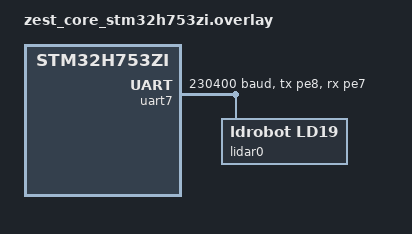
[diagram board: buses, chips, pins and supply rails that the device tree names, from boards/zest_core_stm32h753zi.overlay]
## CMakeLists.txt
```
# SPDX-License-Identifier: Apache-2.0

cmake_minimum_required(VERSION 3.13.1)

list(APPEND ZEPHYR_EXTRA_MODULES ${CMAKE_CURRENT_SOURCE_DIR}/../../../modules/micro_ros_zephyr_module/modules/libmicroros/)

find_package(Zephyr REQUIRED HINTS $ENV{ZEPHYR_BASE})
project(lidar_example)

# Apply Git patch before build
execute_process(
    COMMAND git apply ${CMAKE_CURRENT_SOURCE_DIR}/../fix_static_init_gnu.patch
    WORKING_DIRECTORY ${ZEPHYR_BASE}
    RESULT_VARIABLE result
)

execute_process(
    COMMAND git apply ${CMAKE_CURRENT_SOURCE_DIR}/../fix_zest_core_stm32h753zi_ethernet.patch
    WORKING_DIRECTORY ${ZEPHYR_BASE}/../6tron/boards/zest_core_stm32h753zi
    RESULT_VARIABLE result
)

target_sources(app PRIVATE ${proto_sources} src/main.c)
```

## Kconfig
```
# SPDX-License-Identifier: Apache-2.0

mainmenu "MiniPock configuration"

menu "Zephyr"
source "Kconfig.zephyr"
endmenu

config ROS_ROS_DOMAIN_ID
    int "ROS Domain ID"
    default 10
```

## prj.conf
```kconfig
CONFIG_GPIO=y

CONFIG_SERIAL=y
CONFIG_UART_INTERRUPT_DRIVEN=y

CONFIG_SENSOR=y

CONFIG_LOG=y
CONFIG_NET_LOG=y

CONFIG_MICROROS=y

CONFIG_MAIN_STACK_SIZE=25000
CONFIG_MAIN_THREAD_PRIORITY=3

CONFIG_PTHREAD_IPC=n

CONFIG_POSIX_API=y
CONFIG_POSIX_CLOCK=y

CONFIG_STDOUT_CONSOLE=y
CONFIG_UART_INTERRUPT_DRIVEN=y
CONFIG_UART_LINE_CTRL=y
CONFIG_RING_BUFFER=y

CONFIG_NANOPB=y

CONFIG_MICROROS_XRCE_DDS_MTU="4096"

CONFIG_NATIVE_POSIX_TIMER=y

CONFIG_HEAP_MEM_POOL_SIZE=8192
CONFIG_SYSTEM_WORKQUEUE_STACK_SIZE=2048
CONFIG_NET_IPV4=y
CONFIG_NET_CONFIG_NEED_IPV4=y
CONFIG_NET_IPV6=n
CONFIG_NET_DHCPV4=y
CONFIG_NETWORKING=y
CONFIG_NET_SOCKETS=y
CONFIG_NET_SOCKETS_POSIX_NAMES=y
CONFIG_POSIX_MAX_FDS=6
CONFIG_DNS_RESOLVER=y

CONFIG_NET_UDP=y

CONFIG_MICROROS_TRANSPORT_UDP=y

CONFIG_ENTROPY_GENERATOR=y
CONFIG_TEST_RANDOM_GENERATOR=y

CONFIG_NET_MGMT=y
CONFIG_NET_MGMT_EVENT=y
CONFIG_NET_DHCPV4=y
CONFIG_NET_DHCPV4_OPTION_CALLBACKS=y

CONFIG_INIT_STACKS=y

CONFIG_SHELL=y
CONFIG_NET_SHELL=y

CONFIG_LD19_TRIGGER_GLOBAL_THREAD=y
```

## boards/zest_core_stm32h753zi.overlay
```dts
&uart7 {
	pinctrl-0 = <&uart7_tx_pe8 &uart7_rx_pe7>;
	pinctrl-names = "default";

	current-speed = <230400>;
	status = "okay";

  	lidar0: lidar_0 {
		compatible = "ldrobot,ld19";
	};
};
```

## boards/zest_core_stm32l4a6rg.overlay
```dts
&sixtron_uart {
	current-speed = <230400>;
	status = "okay";

	lidar0: lidar_0 {
		compatible = "ldrobot,ld19";
	};
};

&timers1 {
	st,prescaler = <10000>;
};
```

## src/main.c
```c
/*
 * Copyright (c) 2023 CATIE
 * SPDX-License-Identifier: Apache-2.0
 */

#include <zephyr/kernel.h>

#include <zephyr/drivers/gpio.h>
#include <zephyr/drivers/sensor.h>

#include <rcl/error_handling.h>
#include <rcl/rcl.h>
#include <rclc/executor.h>
#include <rclc/rclc.h>
#include <rclc/timer.h>
#include <rmw_microros/rmw_microros.h>

#include <microros_transports.h>

#include <sensor_msgs/msg/laser_scan.h>

#include <zephyr/net/net_event.h>
#include <zephyr/net/net_if.h>

#include <zephyr/net/net_context.h>
#include <zephyr/net/net_core.h>
#include <zephyr/net/net_if.h>
#include <zephyr/net/net_mgmt.h>

#include <zephyr/logging/log.h>
LOG_MODULE_REGISTER(main, CONFIG_SENSOR_LOG_LEVEL);

#define DHCP_OPTION_NTP (42)

static uint8_t ntp_server[4];

static struct net_mgmt_event_callback mgmt_cb;

static struct net_dhcpv4_option_callback dhcp_cb;

static const struct device *sensor;

static rclc_executor_t executor;

#define STACKSIZE 8162
K_THREAD_STACK_DEFINE(thread_stack, STACKSIZE);
struct k_thread thread_data;

void uros_transport_task();

K_THREAD_DEFINE(uros_transport, 2048, uros_transport_task, NULL, NULL, NULL, 7, 0, 0);

#define RCCHECK(fn)                                                                                \
    {                                                                                              \
        rcl_ret_t temp_rc = fn;                                                                    \
        if ((temp_rc != RCL_RET_OK)) {                                                             \
            printf("Failed status on line %d: %d. Aborting.\n", __LINE__, (int)temp_rc);           \
            return 1;                                                                              \
        }                                                                                          \
    }
#define RCSOFTCHECK(fn)                                                                            \
    {                                                                                              \
        rcl_ret_t temp_rc = fn;                                                                    \
        if ((temp_rc != RCL_RET_OK)) {                                                             \
            printf("Failed status on line %d: %d. Continuing.\n", __LINE__, (int)temp_rc);         \
        }                                                                                          \
    }

rcl_publisher_t scan_publisher;

// LED0
#define LED0_NODE DT_ALIAS(led0)
static const struct gpio_dt_spec led = GPIO_DT_SPEC_GET(LED0_NODE, gpios);

// Save ROS timestamp
static uint64_t ros_timestamp;

// Network management
static bool connected = 0;
static volatile bool agent_connected = false;

// Struct contain ranges, intensities, start_angle, end_angle
struct lidar_data {
    float ranges[12];
    float intensities[12];
    float start_angle;
    float end_angle;
};

#define NB_MSG 11
#define NB_POINTS_PER_MSG 12
#define NB_POINTS (NB_MSG * NB_POINTS_PER_MSG)

static struct lidar_data lidar_msg[NB_MSG];
int lidar_msg_index = 0;

K_MSGQ_DEFINE(lidar_msgq, sizeof(struct lidar_data), 20, 4);

static void start_dhcpv4_client(struct net_if *iface, void *user_data)
{
    ARG_UNUSED(user_data);

    printk("Start on %s: index=%d", net_if_get_device(iface)->name, net_if_get_by_iface(iface));
    net_dhcpv4_start(iface);
}

static void handler(struct net_mgmt_event_callback *cb, uint32_t mgmt_event, struct net_if *iface)
{
    int i = 0;

    if (mgmt_event != NET_EVENT_IPV4_ADDR_ADD) {
        return;
    }

    for (i = 0; i < NET_IF_MAX_IPV4_ADDR; i++) {
        char buf[NET_IPV4_ADDR_LEN];

        if (iface->config.ip.ipv4->unicast[i].ipv4.addr_type != NET_ADDR_DHCP) {
            continue;
        }

        printk("   Address[%d]: %s",
                net_if_get_by_iface(iface),
                net_addr_ntop(AF_INET,
                        &iface->config.ip.ipv4->unicast[i].ipv4.address.in_addr,
                        buf,
                        sizeof(buf)));
        printk("    Subnet[%d]: %s",
                net_if_get_by_iface(iface),
                net_addr_ntop(
                        AF_INET, &iface->config.ip.ipv4->unicast[i].netmask, buf, sizeof(buf)));
        printk("    Router[%d]: %s",
                net_if_get_by_iface(iface),
                net_addr_ntop(AF_INET, &iface->config.ip.ipv4->gw, buf, sizeof(buf)));
        printk("Lease time[%d]: %u seconds",
                net_if_get_by_iface(iface),
                iface->config.dhcpv4.lease_time);
    }

    connected = 1;
}

static void option_handler(struct net_dhcpv4_option_callback *cb,
        size_t length,
        enum net_dhcpv4_msg_type msg_type,
        struct net_if *iface)
{
    char buf[NET_IPV4_ADDR_LEN];

    printk("DHCP Option %d: %s", cb->option, net_addr_ntop(AF_INET, cb->data, buf, sizeof(buf)));
}

void send_lidar_data(void *, void *, void *)
{
    static float range_to_send[NB_POINTS];
    static float intensity_to_send[NB_POINTS];

    struct lidar_data lidar_data;

    static sensor_msgs__msg__LaserScan scan;

    while (true) {
        k_msgq_get(&lidar_msgq, &lidar_data, K_FOREVER);

        lidar_msg[lidar_msg_index] = lidar_data;
        lidar_msg_index++;

        if (lidar_msg_index >= NB_MSG) {
            lidar_msg_index = 0;

            for (int i = 0; i < NB_MSG; i++) {
                for (int j = 0; j < NB_POINTS_PER_MSG; j++) {
                    range_to_send[i * NB_POINTS_PER_MSG + j] = lidar_msg[i].ranges[j];
                    intensity_to_send[i * NB_POINTS_PER_MSG + j] = lidar_msg[i].intensities[j];
                }
            }

            scan.header.frame_id.data = "lds_01_link";
            scan.header.stamp.sec = (int32_t)((ros_timestamp + k_uptime_get()) / 1000);
            scan.header.stamp.nanosec
                    = (uint32_t)((ros_timestamp + k_uptime_get()) % 1000) * 1000000;

            float angle_increment = 0;
            if (lidar_msg[0].start_angle > lidar_msg[NB_MSG - 1].end_angle) {
                angle_increment
                        = (6.28 - lidar_msg[0].start_angle + lidar_msg[NB_MSG - 1].end_angle)
                        / (float)NB_POINTS;
            } else {
                angle_increment = (lidar_msg[NB_MSG - 1].end_angle - lidar_msg[0].start_angle)
                        / (float)NB_POINTS;
            }

            scan.angle_increment = angle_increment;
            scan.time_increment = 0;
            scan.scan_time = 0.1;
            scan.range_min = 0.02;
            scan.range_max = 12;

            scan.ranges.data = range_to_send;
            scan.intensities.data = intensity_to_send;
            scan.ranges.size = NB_POINTS;
            scan.intensities.size = NB_POINTS;

            scan.angle_min = lidar_msg[0].start_angle;
            scan.angle_max = lidar_msg[NB_MSG - 1].end_angle;

            if (agent_connected) {
                // blink LED
                gpio_pin_toggle_dt(&led);
                int ret = rcl_publish(&scan_publisher, &scan, NULL);
                if (ret != RCL_RET_OK) {
                    printk("Failed to publish message\n");
                }
            }
        }
    }
}

void uros_transport_task()
{
    while (1) {
        if (agent_connected) {
            rclc_executor_spin_some(&executor, RCL_MS_TO_NS(100));
            k_msleep(1000);
        } else {
            k_msleep(1000);
        }
    }
}

static void trigger_handler(const struct device *dev, const struct sensor_trigger *trigger)
{
    struct sensor_value val[15];

    struct lidar_data lidar_data;

    sensor_channel_get(sensor, SENSOR_CHAN_DISTANCE, val);

    lidar_data.start_angle = val[1].val1 / 100 * 3.14 / 180;
    lidar_data.end_angle = val[1].val2 / 100 * 3.14 / 180;

    for (int i = 0; i < NB_POINTS_PER_MSG; i++) {
        lidar_data.ranges[i] = (float)val[i + 2].val1 / 100.;
        lidar_data.intensities[i] = (float)val[i + 2].val2 / 100.;
    }

    while (k_msgq_put(&lidar_msgq, &lidar_data, K_NO_WAIT) != 0) {
        printk("Failed to put data in queue\n");
        k_msgq_purge(&lidar_msgq);
    }
}

int main()
{
    int ret;

    printk("Starting micro-ROS Zephyr app\n");

    int priority = 5;
    k_thread_create(&thread_data,
            thread_stack,
            K_THREAD_STACK_SIZEOF(thread_stack),
            send_lidar_data,
            NULL,
            NULL,
            NULL,
            priority,
            0,
            K_NO_WAIT);

    // Init LED0
    if (!gpio_is_ready_dt(&led)) {
        return 0;
    }

    ret = gpio_pin_configure_dt(&led, GPIO_OUTPUT_ACTIVE);
    if (ret < 0) {
        return 0;
    }

    // Initialize LiDAR
    sensor = DEVICE_DT_GET(DT_NODELABEL(lidar0));
    if (!device_is_ready(sensor)) {
        LOG_ERR("Sensor not ready");
        return 0;
    }

    static struct sensor_trigger trig = {
        .type = SENSOR_TRIG_DATA_READY,
        .chan = SENSOR_CHAN_DISTANCE,
    };

    sensor_trigger_set(sensor, &trig, trigger_handler);

    // Init micro-ROS
    static zephyr_transport_params_t agent_param = { { 0, 0, 0 }, "192.168.1.4", "8888" };

    // Init micro-ROS
    rmw_uros_set_custom_transport(MICRO_ROS_FRAMING_REQUIRED,
            (void *)&agent_param,
            zephyr_transport_open,
            zephyr_transport_close,
            zephyr_transport_write,
            zephyr_transport_read);

    net_mgmt_init_event_callback(&mgmt_cb, handler, NET_EVENT_IPV4_ADDR_ADD);
    net_mgmt_add_event_callback(&mgmt_cb);

    net_dhcpv4_init_option_callback(
            &dhcp_cb, option_handler, DHCP_OPTION_NTP, ntp_server, sizeof(ntp_server));

    net_dhcpv4_add_option_callback(&dhcp_cb);

    net_if_foreach(start_dhcpv4_client, NULL);

    while (!connected) {
        printf("Waiting for connection\n");
        k_sleep(K_SECONDS(1));
    }

    printf("Connection OK\n");

    while (rmw_uros_ping_agent(100, 1) != RMW_RET_OK) {
        printk("Waiting for agent...\n");
        k_sleep(K_SECONDS(1));
    }

    agent_connected = true;

    printk("Agent found!\n");

    rcl_allocator_t allocator = rcl_get_default_allocator();
    rclc_support_t support;

    rcl_init_options_t init_options = rcl_get_zero_initialized_init_options();
    RCCHECK(rcl_init_options_init(&init_options, allocator));
    RCCHECK(rcl_init_options_set_domain_id(&init_options, CONFIG_ROS_ROS_DOMAIN_ID));

    // Initialize micro-ROS with options
    RCCHECK(rclc_support_init_with_options(&support, 0, NULL, &init_options, &allocator));

    // Create node
    rcl_node_t node;
    RCCHECK(rclc_node_init_default(&node, "zephyr", "", &support));

    // Create scan publisher
    static rmw_qos_profile_t custom_qos_profile = rmw_qos_profile_sensor_data;
    rclc_publisher_init(&scan_publisher,
            &node,
            ROSIDL_GET_MSG_TYPE_SUPPORT(sensor_msgs, msg, LaserScan),
            "scan",
            &custom_qos_profile);

    // Create executor
    executor = rclc_executor_get_zero_initialized_executor();
    RCCHECK(rclc_executor_init(&executor, &support.context, 1, &allocator));

    // Synchronize time
    RCCHECK(rmw_uros_sync_session(1000));
    ros_timestamp = rmw_uros_epoch_millis();

    k_sleep(K_FOREVER);
}
```
